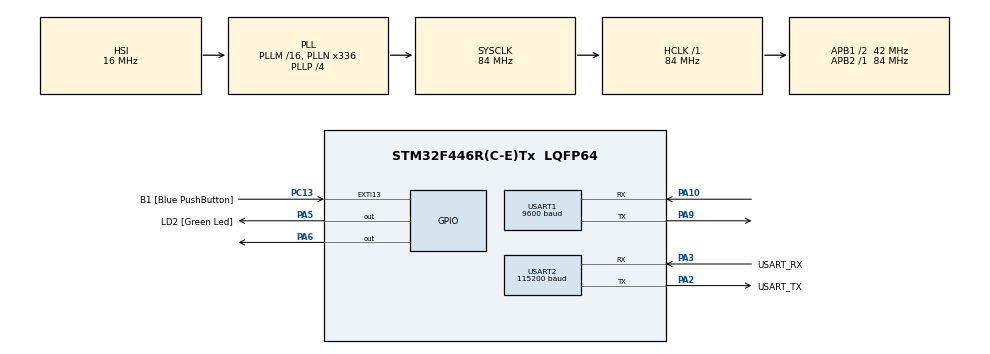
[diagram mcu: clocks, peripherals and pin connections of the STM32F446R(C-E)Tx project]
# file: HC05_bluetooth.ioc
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Mcu.Family=STM32F4
Mcu.Name=STM32F446R(C-E)Tx
Mcu.Package=LQFP64
NVIC.PriorityGroup=NVIC_PRIORITYGROUP_0
NVIC.USART1_IRQn=true\:0\:0\:false\:false\:true\:true\:true\:true
PA10.Mode=Asynchronous
PA10.Signal=USART1_RX
PA13.GPIO_Label=TMS
PA13.Mode=Serial_Wire
PA13.Signal=SYS_JTMS-SWDIO
PA14.GPIO_Label=TCK
PA14.Mode=Serial_Wire
PA14.Signal=SYS_JTCK-SWCLK
PA2.GPIO_Label=USART_TX
PA2.Mode=Asynchronous
PA2.Signal=USART2_TX
PA3.GPIO_Label=USART_RX
PA3.Mode=Asynchronous
PA3.Signal=USART2_RX
PA5.GPIO_Label=LD2 [Green Led]
PA5.Signal=GPIO_Output
PA6.Signal=GPIO_Output
PA9.Mode=Asynchronous
PA9.Signal=USART1_TX
PB3.GPIO_Label=SWO
PB3.Signal=SYS_JTDO-SWO
PC13.GPIO_Label=B1 [Blue PushButton]
PC13.GPIO_ModeDefaultEXTI=GPIO_MODE_IT_FALLING
PC13.Signal=GPXTI13
PC14-OSC32_IN.Mode=LSE-External-Oscillator
PC14-OSC32_IN.Signal=RCC_OSC32_IN
PC15-OSC32_OUT.Mode=LSE-External-Oscillator
PC15-OSC32_OUT.Signal=RCC_OSC32_OUT
PH0-OSC_IN.Mode=HSE-External-Oscillator
PH0-OSC_IN.Signal=RCC_OSC_IN
PH1-OSC_OUT.Mode=HSE-External-Oscillator
PH1-OSC_OUT.Signal=RCC_OSC_OUT
ProjectManager.HeapSize=0x200
ProjectManager.StackSize=0x400
ProjectManager.TargetToolchain=STM32CubeIDE
RCC.48MHZClocksFreq_Value=84000000
RCC.AHBFreq_Value=84000000
RCC.APB1CLKDivider=RCC_HCLK_DIV2
RCC.APB1Freq_Value=42000000
RCC.APB1TimFreq_Value=84000000
RCC.APB2Freq_Value=84000000
RCC.APB2TimFreq_Value=84000000
RCC.CortexFreq_Value=84000000
RCC.FLatency-AdvancedSettings=FLASH_LATENCY_2
RCC.HCLKFreq_Value=84000000
RCC.HSE_VALUE=8000000
RCC.HSI_VALUE=16000000
RCC.PLLN=336
RCC.PLLP=RCC_PLLP_DIV4
RCC.SYSCLKFreq_VALUE=84000000
RCC.SYSCLKSource=RCC_SYSCLKSOURCE_PLLCLK
RCC.USBFreq_Value=168000000
RCC.VCOOutputFreq_Value=336000000
USART1.BaudRate=9600
USART1.VirtualMode=VM_ASYNC
USART2.BaudRate=115200
USART2.VirtualMode=VM_ASYNC
board=NUCLEO-F446RE

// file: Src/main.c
/* USER CODE BEGIN Header */
/**
  ******************************************************************************
  * @file           : main.c
  * @brief          : Main program body
  ******************************************************************************
  * @attention
  *
  * Copyright (c) 2025 STMicroelectronics.
  * All rights reserved.
  *
  * This software is licensed under terms that can be found in the LICENSE file
  * in the root directory of this software component.
  * If no LICENSE file comes with this software, it is provided AS-IS.
  *
  ******************************************************************************
  */
/* USER CODE END Header */
#include "main.h"

UART_HandleTypeDef huart1;
UART_HandleTypeDef huart2;

/* USER CODE BEGIN PV */
uint8_t rx_data;        // to store received byte
uint8_t blink_flag = 0;
uint8_t fan_state = 0;  // 0 = OFF, 1 = ON

/* USER CODE END PV */

void SystemClock_Config(void);
static void MX_GPIO_Init(void);
static void MX_USART2_UART_Init(void);
static void MX_USART1_UART_Init(void);

/* USER CODE BEGIN 0 */

void do_action(uint8_t cmd) {
	switch (cmd) {
	case '1':   // LED ON
		blink_flag = 0;
		HAL_GPIO_WritePin(GPIOA, GPIO_PIN_5, GPIO_PIN_SET);
		HAL_UART_Transmit(&huart1, (uint8_t*) "LED ON\r\n", strlen("LED ON\r\n"), HAL_MAX_DELAY);
		break;

	case '2':   // LED BLINK until next command
		blink_flag = 1;
		HAL_UART_Transmit(&huart1, (uint8_t*) "LED BLINK\r\n", strlen("LED BLINK\r\n"), HAL_MAX_DELAY);
		break;

	case '3':   // LED OFF
		blink_flag = 0;
		HAL_GPIO_WritePin(GPIOA, GPIO_PIN_5, GPIO_PIN_RESET);
		HAL_UART_Transmit(&huart1, (uint8_t*) "LED OFF\r\n", strlen("LED OFF\r\n"), HAL_MAX_DELAY);
		break;

	case '4':   // FAN ON
		fan_state = 1;
		HAL_GPIO_WritePin(GPIOA, GPIO_PIN_6, GPIO_PIN_SET);
		HAL_UART_Transmit(&huart1, (uint8_t*) "FAN ON\r\n", strlen("FAN ON\r\n"), HAL_MAX_DELAY);
		break;

	case '5':   // FAN OFF
		fan_state = 0;
		HAL_GPIO_WritePin(GPIOA, GPIO_PIN_6, GPIO_PIN_RESET);
		HAL_UART_Transmit(&huart1, (uint8_t*) "FAN OFF\r\n", strlen("FAN OFF\r\n"), HAL_MAX_DELAY);
		break;

	default:
		HAL_UART_Transmit(&huart1, (uint8_t*) "Invalid Option\r\n", strlen("Invalid Option\r\n"), HAL_MAX_DELAY);
		break;
	}
}

void HAL_UART_RxCpltCallback(UART_HandleTypeDef *huart) {
	if (huart->Instance == USART1) {

		char ch = (char) rx_data;

		/* Ignore CR/LF from terminal apps */
		if (ch == '\r' || ch == '\n') {
			HAL_UART_Receive_IT(&huart1, &rx_data, 1);
			return;
		}

		/* Valid commands: '1'...'5' */
		if (ch >= '1' && ch <= '5') {
			do_action(ch);
		} else {
			HAL_UART_Transmit(&huart1, (uint8_t*) "Invalid Option\r\n", strlen("Invalid Option\r\n"), HAL_MAX_DELAY);
		}

		/* Re-enable interrupt receive for next byte */
		HAL_UART_Receive_IT(&huart1, &rx_data, 1);
	}
}

/* USER CODE END 0 */

int main(void)
{

  /* MCU Configuration--------------------------------------------------------*/

  /* Reset of all peripherals, Initializes the Flash interface and the Systick. */
  HAL_Init();

  /* Configure the system clock */
  SystemClock_Config();

  /* Initialize all configured peripherals */
  MX_GPIO_Init();
  MX_USART2_UART_Init();
  MX_USART1_UART_Init();
  /* USER CODE BEGIN 2 */

  char menu[] =
  		  "Select Option:\r\n"
  		  "1. LED ON\r\n"
  		  "2. LED BLINK\r\n"
  		  "3. LED OFF\r\n"
  		  "4. FAN ON\r\n"
  		  "5. FAN OFF\r\n";
    HAL_UART_Transmit(&huart1, (uint8_t*) menu, strlen(menu), HAL_MAX_DELAY);

    /* Start UART interrupt receive on USART1 */
    HAL_UART_Receive_IT(&huart1, &rx_data, 1);

  /* USER CODE END 2 */

  /* Infinite loop */
  while (1)
  {

    /* USER CODE BEGIN 3 */

	  if (blink_flag == 1) {
	        HAL_GPIO_TogglePin(GPIOA, GPIO_PIN_5);
	        HAL_Delay(500);
	      } else {
	        HAL_Delay(10);
	      }
  }
  /* USER CODE END 3 */
}

void SystemClock_Config(void)
{
  RCC_OscInitTypeDef RCC_OscInitStruct = {0};
  RCC_ClkInitTypeDef RCC_ClkInitStruct = {0};

  /** Configure the main internal regulator output voltage
  */
  __HAL_RCC_PWR_CLK_ENABLE();
  __HAL_PWR_VOLTAGESCALING_CONFIG(PWR_REGULATOR_VOLTAGE_SCALE3);

  /** Initializes the RCC Oscillators according to the specified parameters
  * in the RCC_OscInitTypeDef structure.
  */
  RCC_OscInitStruct.OscillatorType = RCC_OSCILLATORTYPE_HSI;
  RCC_OscInitStruct.HSIState = RCC_HSI_ON;
  RCC_OscInitStruct.HSICalibrationValue = RCC_HSICALIBRATION_DEFAULT;
  RCC_OscInitStruct.PLL.PLLState = RCC_PLL_ON;
  RCC_OscInitStruct.PLL.PLLSource = RCC_PLLSOURCE_HSI;
  RCC_OscInitStruct.PLL.PLLM = 16;
  RCC_OscInitStruct.PLL.PLLN = 336;
  RCC_OscInitStruct.PLL.PLLP = RCC_PLLP_DIV4;
  RCC_OscInitStruct.PLL.PLLQ = 2;
  RCC_OscInitStruct.PLL.PLLR = 2;
  if (HAL_RCC_OscConfig(&RCC_OscInitStruct) != HAL_OK)
  {
    Error_Handler();
  }

  /** Initializes the CPU, AHB and APB buses clocks
  */
  RCC_ClkInitStruct.ClockType = RCC_CLOCKTYPE_HCLK|RCC_CLOCKTYPE_SYSCLK
                              |RCC_CLOCKTYPE_PCLK1|RCC_CLOCKTYPE_PCLK2;
  RCC_ClkInitStruct.SYSCLKSource = RCC_SYSCLKSOURCE_PLLCLK;
  RCC_ClkInitStruct.AHBCLKDivider = RCC_SYSCLK_DIV1;
  RCC_ClkInitStruct.APB1CLKDivider = RCC_HCLK_DIV2;
  RCC_ClkInitStruct.APB2CLKDivider = RCC_HCLK_DIV1;

  if (HAL_RCC_ClockConfig(&RCC_ClkInitStruct, FLASH_LATENCY_2) != HAL_OK)
  {
    Error_Handler();
  }
}

static void MX_USART1_UART_Init(void)
{

  huart1.Instance = USART1;
  huart1.Init.BaudRate = 9600;
  huart1.Init.WordLength = UART_WORDLENGTH_8B;
  huart1.Init.StopBits = UART_STOPBITS_1;
  huart1.Init.Parity = UART_PARITY_NONE;
  huart1.Init.Mode = UART_MODE_TX_RX;
  huart1.Init.HwFlowCtl = UART_HWCONTROL_NONE;
  huart1.Init.OverSampling = UART_OVERSAMPLING_16;
  if (HAL_UART_Init(&huart1) != HAL_OK)
  {
    Error_Handler();
  }

}

static void MX_USART2_UART_Init(void)
{

  huart2.Instance = USART2;
  huart2.Init.BaudRate = 115200;
  huart2.Init.WordLength = UART_WORDLENGTH_8B;
  huart2.Init.StopBits = UART_STOPBITS_1;
  huart2.Init.Parity = UART_PARITY_NONE;
  huart2.Init.Mode = UART_MODE_TX_RX;
  huart2.Init.HwFlowCtl = UART_HWCONTROL_NONE;
  huart2.Init.OverSampling = UART_OVERSAMPLING_16;
  if (HAL_UART_Init(&huart2) != HAL_OK)
  {
    Error_Handler();
  }

}

static void MX_GPIO_Init(void)
{
  GPIO_InitTypeDef GPIO_InitStruct = {0};

  /* GPIO Ports Clock Enable */
  __HAL_RCC_GPIOC_CLK_ENABLE();
  __HAL_RCC_GPIOH_CLK_ENABLE();
  __HAL_RCC_GPIOA_CLK_ENABLE();
  __HAL_RCC_GPIOB_CLK_ENABLE();

  /*Configure GPIO pin Output Level */
  HAL_GPIO_WritePin(GPIOA, LD2_Pin|GPIO_PIN_6, GPIO_PIN_RESET);

  /*Configure GPIO pin : B1_Pin */
  GPIO_InitStruct.Pin = B1_Pin;
  GPIO_InitStruct.Mode = GPIO_MODE_IT_FALLING;
  GPIO_InitStruct.Pull = GPIO_NOPULL;
  HAL_GPIO_Init(B1_GPIO_Port, &GPIO_InitStruct);

  /*Configure GPIO pins : LD2_Pin PA6 */
  GPIO_InitStruct.Pin = LD2_Pin|GPIO_PIN_6;
  GPIO_InitStruct.Mode = GPIO_MODE_OUTPUT_PP;
  GPIO_InitStruct.Pull = GPIO_NOPULL;
  GPIO_InitStruct.Speed = GPIO_SPEED_FREQ_LOW;
  HAL_GPIO_Init(GPIOA, &GPIO_InitStruct);

}

void Error_Handler(void)
{
  __disable_irq();
  while (1)
  {
  }
}
